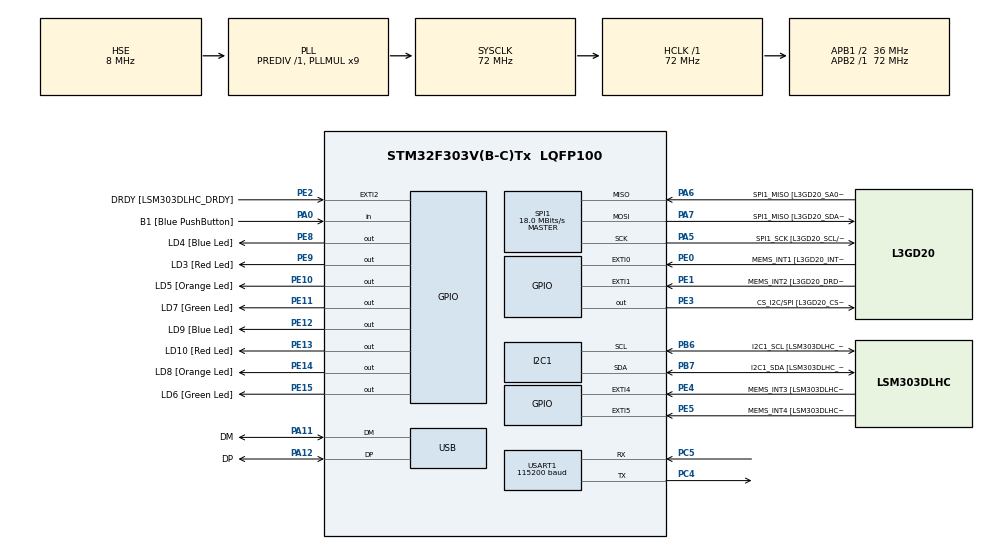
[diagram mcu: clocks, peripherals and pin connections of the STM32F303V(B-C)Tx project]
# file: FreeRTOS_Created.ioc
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I2C1.Timing-I2C=0x2000090E
Mcu.Family=STM32F3
Mcu.Name=STM32F303V(B-C)Tx
Mcu.Package=LQFP100
NVIC.PriorityGroup=NVIC_PRIORITYGROUP_4
NVIC.TIM3_IRQn=true\:0\:0\:false\:false\:true\:false\:true
NVIC.TimeBase=TIM3_IRQn
NVIC.TimeBaseIP=TIM3
PA0.GPIO_Label=B1 [Blue PushButton]
PA0.Signal=GPIO_Input
PA11.GPIO_Label=DM
PA11.Mode=Device
PA11.Signal=USB_DM
PA12.GPIO_Label=DP
PA12.Mode=Device
PA12.Signal=USB_DP
PA13.GPIO_Label=SWDIO
PA13.Mode=Serial_Wire
PA13.Signal=SYS_JTMS-SWDIO
PA14.GPIO_Label=SWCLK
PA14.Mode=Serial_Wire
PA14.Signal=SYS_JTCK-SWCLK
PA5.GPIO_Label=SPI1_SCK [L3GD20_SCL/SPC]
PA5.Mode=Full_Duplex_Master
PA5.Signal=SPI1_SCK
PA6.GPIO_Label=SPI1_MISO [L3GD20_SA0/SDO]
PA6.Mode=Full_Duplex_Master
PA6.Signal=SPI1_MISO
PA7.GPIO_Label=SPI1_MISO [L3GD20_SDA/SDI/SDO]
PA7.Mode=Full_Duplex_Master
PA7.Signal=SPI1_MOSI
PB3.GPIO_Label=SWO
PB3.Signal=SYS_JTDO-TRACESWO
PB6.GPIO_Label=I2C1_SCL [LSM303DLHC_SCL]
PB6.GPIO_Pu=GPIO_PULLUP
PB6.Mode=I2C
PB6.Signal=I2C1_SCL
PB7.GPIO_Label=I2C1_SDA [LSM303DLHC_SDA]
PB7.GPIO_Pu=GPIO_PULLUP
PB7.Mode=I2C
PB7.Signal=I2C1_SDA
PC14-OSC32_IN.GPIO_Label=OSC32_IN
PC14-OSC32_IN.Signal=RCC_OSC32_IN
PC15-OSC32_OUT.GPIO_Label=OSC32_OUT
PC15-OSC32_OUT.Signal=RCC_OSC32_OUT
PC4.Mode=Asynchronous
PC4.Signal=USART1_TX
PC5.Mode=Asynchronous
PC5.Signal=USART1_RX
PE0.GPIO_Label=MEMS_INT1 [L3GD20_INT1]
PE0.GPIO_ModeDefaultEXTI=GPIO_MODE_EVT_RISING
PE0.Signal=GPXTI0
PE1.GPIO_Label=MEMS_INT2 [L3GD20_DRDY/INT2]
PE1.GPIO_ModeDefaultEXTI=GPIO_MODE_EVT_RISING
PE1.Signal=GPXTI1
PE10.GPIO_Label=LD5 [Orange Led]
PE10.Signal=GPIO_Output
PE11.GPIO_Label=LD7 [Green Led]
PE11.Signal=GPIO_Output
PE12.GPIO_Label=LD9 [Blue Led]
PE12.Signal=GPIO_Output
PE13.GPIO_Label=LD10 [Red Led]
PE13.Signal=GPIO_Output
PE14.GPIO_Label=LD8 [Orange Led]
PE14.Signal=GPIO_Output
PE15.GPIO_Label=LD6 [Green Led]
PE15.Signal=GPIO_Output
PE2.GPIO_Label=DRDY [LSM303DLHC_DRDY]
PE2.GPIO_ModeDefaultEXTI=GPIO_MODE_EVT_RISING
PE2.Signal=GPXTI2
PE3.GPIO_Label=CS_I2C/SPI [L3GD20_CS_I2C/SPI]
PE3.Signal=GPIO_Output
PE4.GPIO_Label=MEMS_INT3 [LSM303DLHC_INT1]
PE4.GPIO_ModeDefaultEXTI=GPIO_MODE_EVT_RISING
PE4.Signal=GPXTI4
PE5.GPIO_Label=MEMS_INT4 [LSM303DLHC_INT2]
PE5.GPIO_ModeDefaultEXTI=GPIO_MODE_EVT_RISING
PE5.Signal=GPXTI5
PE8.GPIO_Label=LD4 [Blue Led]
PE8.Signal=GPIO_Output
PE9.GPIO_Label=LD3 [Red Led]
PE9.Signal=GPIO_Output
PF0-OSC_IN.GPIO_Label=OSC_IN
PF0-OSC_IN.Mode=HSE-External-Clock-Source
PF0-OSC_IN.Signal=RCC_OSC_IN
PF1-OSC_OUT.GPIO_Label=OSC_OUT
PF1-OSC_OUT.Signal=RCC_OSC_OUT
ProjectManager.HeapSize=0x800
ProjectManager.StackSize=0x800
ProjectManager.TargetToolchain=MDK-ARM V5.27
RCC.AHBFreq_Value=72000000
RCC.APB1CLKDivider=RCC_HCLK_DIV2
RCC.APB1Freq_Value=36000000
RCC.APB1TimFreq_Value=72000000
RCC.APB2Freq_Value=72000000
RCC.APB2TimFreq_Value=72000000
RCC.CortexFreq_Value=72000000
RCC.HCLKFreq_Value=72000000
RCC.HSE_VALUE=8000000
RCC.HSI_VALUE=8000000
RCC.LSE_VALUE=32768
RCC.PLLMUL=RCC_PLL_MUL9
RCC.PRESCALERUSB=RCC_USBCLKSOURCE_PLL_DIV1_5
RCC.SYSCLKFreq_VALUE=72000000
RCC.SYSCLKSourceVirtual=RCC_SYSCLKSOURCE_PLLCLK
RCC.USBFreq_Value=48000000
SPI1.BaudRatePrescaler=SPI_BAUDRATEPRESCALER_4
SPI1.BaudRatePrescaler-Full_Duplex_Master=SPI_BAUDRATEPRESCALER_2
SPI1.CalculateBaudRate=18.0 MBits/s
SPI1.CalculateBaudRate-Full_Duplex_Master=24.0 MBits/s
SPI1.Direction=SPI_DIRECTION_2LINES
SPI1.Mode=SPI_MODE_MASTER
SPI1.Mode-Full_Duplex_Master=SPI_MODE_MASTER
SPI1.VirtualType=VM_MASTER
USART1.BaudRate=115200
USART1.VirtualMode-Asynchronous=VM_ASYNC
VP_SYS_VS_tim3.Mode=TIM3
board=STM32F3DISCOVERY

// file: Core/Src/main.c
/* USER CODE BEGIN Header */
/**
  ******************************************************************************
  * @file           : main.c
  * @brief          : Main program body
  ******************************************************************************
  * @attention
  *
  * <h2><center>&copy; Copyright (c) 2021 STMicroelectronics.
  * All rights reserved.</center></h2>
  *
  * This software component is licensed by ST under Ultimate Liberty license
  * SLA0044, the "License"; You may not use this file except in compliance with
  * the License. You may obtain a copy of the License at:
  *                             www.st.com/SLA0044
  *
  ******************************************************************************
  */
/* USER CODE END Header */
#include "main.h"

/* USER CODE BEGIN Includes */

//====================================================================================================

#include "FreeRTOS.h"
#include "task.h"
#include "queue.h"
#include "stdio.h"
#include "string.h"
#include "semphr.h"

	TaskHandle_t xHandle_ONE = NULL;
	TaskHandle_t xHandle_TWO = NULL;
	TaskHandle_t xHandle_UART = NULL;

	QueueHandle_t xQueue = NULL;

	SemaphoreHandle_t xSemaphore_UART = NULL;

	uint32_t QueueVar = 0;

//====================================================================================================

/* USER CODE END Includes */

I2C_HandleTypeDef hi2c1;

SPI_HandleTypeDef hspi1;

UART_HandleTypeDef huart1;

PCD_HandleTypeDef hpcd_USB_FS;

void SystemClock_Config(void);
static void MX_GPIO_Init(void);
static void MX_I2C1_Init(void);
static void MX_SPI1_Init(void);
static void MX_USB_PCD_Init(void);
static void MX_USART1_UART_Init(void);
/* USER CODE BEGIN PFP */

//====================================================================================================

// Button read
void vTaskCode_ONE( void * pvParameters );

// Blink LED
void vTaskCode_TWO( void * pvParameters );

// Print UART
void vTaskCode_UART( void * pvParameters );

//====================================================================================================

/* USER CODE END PFP */

int main(void)
{

  /* MCU Configuration--------------------------------------------------------*/

  /* Reset of all peripherals, Initializes the Flash interface and the Systick. */
  HAL_Init();

  /* Configure the system clock */
  SystemClock_Config();

  /* Initialize all configured peripherals */
  MX_GPIO_Init();
  MX_I2C1_Init();
  MX_SPI1_Init();
  MX_USB_PCD_Init();
  MX_USART1_UART_Init();

  /* Infinite loop */
  /* USER CODE BEGIN WHILE */

  //=========================================================================================================

   //--------------------------------------------------------------
   /* Create a queue capable of containing 1 unsigned long values. */
    xQueue = xQueueCreate( 1, sizeof( uint32_t ) );

    if( xQueue == NULL )
    {
        /* Queue was not created and must not be used. */
    }
	//----------------------------------------------------------------

	//----------------------------------------------------------------
	/* Attempt to create a semaphore. */
    xSemaphore_UART = xSemaphoreCreateMutex();

    if( xSemaphore_UART == NULL )
    {
        /* There was insufficient FreeRTOS heap available for the semaphore to
        be created successfully. */
    }
	//-----------------------------------------------------------------

    /*========== Create the task, storing the handle. =================*/
    xTaskCreate(
                    vTaskCode_ONE,       /* Function that implements the task. */
                    "Task_BUTTON",          /* Text name for the task. */
                    50*4,      /* Stack size in words, not bytes. */
                    NULL,    /* Parameter passed into the task. */
                    tskIDLE_PRIORITY,/* Priority at which the task is created. */
					&xHandle_ONE);   /* Used to pass out the created task's handle. */

    /*========= Create the task, storing the handle. =================*/
    xTaskCreate(
                    vTaskCode_TWO,       /* Function that implements the task. */
                    "Task_LED",          /* Text name for the task. */
                    50*4,      /* Stack size in words, not bytes. */
                    NULL,    /* Parameter passed into the task. */
                    tskIDLE_PRIORITY,/* Priority at which the task is created. */
                    &xHandle_TWO);      /* Used to pass out the created task's handle. */

	/*========= Create the task, storing the handle. =================*/
    xTaskCreate(
                    vTaskCode_UART,       /* Function that implements the task. */
                    "Task_UART",          /* Text name for the task. */
                    50*4,      /* Stack size in words, not bytes. */
                    NULL,    /* Parameter passed into the task. */
                    tskIDLE_PRIORITY,/* Priority at which the task is created. */
                    &xHandle_UART);      /* Used to pass out the created task's handle. */

	//==  RUN TASKs ================================================
	vTaskStartScheduler();

  //=========================================================================================================

  while (1)
  {
    /* USER CODE END WHILE */

  }
}

void SystemClock_Config(void)
{
  RCC_OscInitTypeDef RCC_OscInitStruct = {0};
  RCC_ClkInitTypeDef RCC_ClkInitStruct = {0};
  RCC_PeriphCLKInitTypeDef PeriphClkInit = {0};

  /** Initializes the RCC Oscillators according to the specified parameters
  * in the RCC_OscInitTypeDef structure.
  */
  RCC_OscInitStruct.OscillatorType = RCC_OSCILLATORTYPE_HSI|RCC_OSCILLATORTYPE_HSE;
  RCC_OscInitStruct.HSEState = RCC_HSE_BYPASS;
  RCC_OscInitStruct.HSEPredivValue = RCC_HSE_PREDIV_DIV1;
  RCC_OscInitStruct.HSIState = RCC_HSI_ON;
  RCC_OscInitStruct.HSICalibrationValue = RCC_HSICALIBRATION_DEFAULT;
  RCC_OscInitStruct.PLL.PLLState = RCC_PLL_ON;
  RCC_OscInitStruct.PLL.PLLSource = RCC_PLLSOURCE_HSE;
  RCC_OscInitStruct.PLL.PLLMUL = RCC_PLL_MUL9;
  if (HAL_RCC_OscConfig(&RCC_OscInitStruct) != HAL_OK)
  {
    Error_Handler();
  }
  /** Initializes the CPU, AHB and APB buses clocks
  */
  RCC_ClkInitStruct.ClockType = RCC_CLOCKTYPE_HCLK|RCC_CLOCKTYPE_SYSCLK
                              |RCC_CLOCKTYPE_PCLK1|RCC_CLOCKTYPE_PCLK2;
  RCC_ClkInitStruct.SYSCLKSource = RCC_SYSCLKSOURCE_PLLCLK;
  RCC_ClkInitStruct.AHBCLKDivider = RCC_SYSCLK_DIV1;
  RCC_ClkInitStruct.APB1CLKDivider = RCC_HCLK_DIV2;
  RCC_ClkInitStruct.APB2CLKDivider = RCC_HCLK_DIV1;

  if (HAL_RCC_ClockConfig(&RCC_ClkInitStruct, FLASH_LATENCY_2) != HAL_OK)
  {
    Error_Handler();
  }
  PeriphClkInit.PeriphClockSelection = RCC_PERIPHCLK_USB|RCC_PERIPHCLK_USART1
                              |RCC_PERIPHCLK_I2C1;
  PeriphClkInit.Usart1ClockSelection = RCC_USART1CLKSOURCE_PCLK2;
  PeriphClkInit.I2c1ClockSelection = RCC_I2C1CLKSOURCE_HSI;
  PeriphClkInit.USBClockSelection = RCC_USBCLKSOURCE_PLL_DIV1_5;
  if (HAL_RCCEx_PeriphCLKConfig(&PeriphClkInit) != HAL_OK)
  {
    Error_Handler();
  }
}

static void MX_I2C1_Init(void)
{

  hi2c1.Instance = I2C1;
  hi2c1.Init.Timing = 0x2000090E;
  hi2c1.Init.OwnAddress1 = 0;
  hi2c1.Init.AddressingMode = I2C_ADDRESSINGMODE_7BIT;
  hi2c1.Init.DualAddressMode = I2C_DUALADDRESS_DISABLE;
  hi2c1.Init.OwnAddress2 = 0;
  hi2c1.Init.OwnAddress2Masks = I2C_OA2_NOMASK;
  hi2c1.Init.GeneralCallMode = I2C_GENERALCALL_DISABLE;
  hi2c1.Init.NoStretchMode = I2C_NOSTRETCH_DISABLE;
  if (HAL_I2C_Init(&hi2c1) != HAL_OK)
  {
    Error_Handler();
  }
  /** Configure Analogue filter
  */
  if (HAL_I2CEx_ConfigAnalogFilter(&hi2c1, I2C_ANALOGFILTER_ENABLE) != HAL_OK)
  {
    Error_Handler();
  }
  /** Configure Digital filter
  */
  if (HAL_I2CEx_ConfigDigitalFilter(&hi2c1, 0) != HAL_OK)
  {
    Error_Handler();
  }

}

static void MX_SPI1_Init(void)
{

  /* SPI1 parameter configuration*/
  hspi1.Instance = SPI1;
  hspi1.Init.Mode = SPI_MODE_MASTER;
  hspi1.Init.Direction = SPI_DIRECTION_2LINES;
  hspi1.Init.DataSize = SPI_DATASIZE_4BIT;
  hspi1.Init.CLKPolarity = SPI_POLARITY_LOW;
  hspi1.Init.CLKPhase = SPI_PHASE_1EDGE;
  hspi1.Init.NSS = SPI_NSS_SOFT;
  hspi1.Init.BaudRatePrescaler = SPI_BAUDRATEPRESCALER_4;
  hspi1.Init.FirstBit = SPI_FIRSTBIT_MSB;
  hspi1.Init.TIMode = SPI_TIMODE_DISABLE;
  hspi1.Init.CRCCalculation = SPI_CRCCALCULATION_DISABLE;
  hspi1.Init.CRCPolynomial = 7;
  hspi1.Init.CRCLength = SPI_CRC_LENGTH_DATASIZE;
  hspi1.Init.NSSPMode = SPI_NSS_PULSE_ENABLE;
  if (HAL_SPI_Init(&hspi1) != HAL_OK)
  {
    Error_Handler();
  }

}

static void MX_USART1_UART_Init(void)
{

  huart1.Instance = USART1;
  huart1.Init.BaudRate = 115200;
  huart1.Init.WordLength = UART_WORDLENGTH_8B;
  huart1.Init.StopBits = UART_STOPBITS_1;
  huart1.Init.Parity = UART_PARITY_NONE;
  huart1.Init.Mode = UART_MODE_TX_RX;
  huart1.Init.HwFlowCtl = UART_HWCONTROL_NONE;
  huart1.Init.OverSampling = UART_OVERSAMPLING_16;
  huart1.Init.OneBitSampling = UART_ONE_BIT_SAMPLE_DISABLE;
  huart1.AdvancedInit.AdvFeatureInit = UART_ADVFEATURE_NO_INIT;
  if (HAL_UART_Init(&huart1) != HAL_OK)
  {
    Error_Handler();
  }

}

static void MX_USB_PCD_Init(void)
{

  hpcd_USB_FS.Instance = USB;
  hpcd_USB_FS.Init.dev_endpoints = 8;
  hpcd_USB_FS.Init.speed = PCD_SPEED_FULL;
  hpcd_USB_FS.Init.phy_itface = PCD_PHY_EMBEDDED;
  hpcd_USB_FS.Init.low_power_enable = DISABLE;
  hpcd_USB_FS.Init.battery_charging_enable = DISABLE;
  if (HAL_PCD_Init(&hpcd_USB_FS) != HAL_OK)
  {
    Error_Handler();
  }

}

static void MX_GPIO_Init(void)
{
  GPIO_InitTypeDef GPIO_InitStruct = {0};

  /* GPIO Ports Clock Enable */
  __HAL_RCC_GPIOE_CLK_ENABLE();
  __HAL_RCC_GPIOC_CLK_ENABLE();
  __HAL_RCC_GPIOF_CLK_ENABLE();
  __HAL_RCC_GPIOA_CLK_ENABLE();
  __HAL_RCC_GPIOB_CLK_ENABLE();

  /*Configure GPIO pin Output Level */
  HAL_GPIO_WritePin(GPIOE, CS_I2C_SPI_Pin|LD4_Pin|LD3_Pin|LD5_Pin
                          |LD7_Pin|LD9_Pin|LD10_Pin|LD8_Pin
                          |LD6_Pin, GPIO_PIN_RESET);

  /*Configure GPIO pins : DRDY_Pin MEMS_INT3_Pin MEMS_INT4_Pin MEMS_INT1_Pin
                           MEMS_INT2_Pin */
  GPIO_InitStruct.Pin = DRDY_Pin|MEMS_INT3_Pin|MEMS_INT4_Pin|MEMS_INT1_Pin
                          |MEMS_INT2_Pin;
  GPIO_InitStruct.Mode = GPIO_MODE_EVT_RISING;
  GPIO_InitStruct.Pull = GPIO_NOPULL;
  HAL_GPIO_Init(GPIOE, &GPIO_InitStruct);

  /*Configure GPIO pins : CS_I2C_SPI_Pin LD4_Pin LD3_Pin LD5_Pin
                           LD7_Pin LD9_Pin LD10_Pin LD8_Pin
                           LD6_Pin */
  GPIO_InitStruct.Pin = CS_I2C_SPI_Pin|LD4_Pin|LD3_Pin|LD5_Pin
                          |LD7_Pin|LD9_Pin|LD10_Pin|LD8_Pin
                          |LD6_Pin;
  GPIO_InitStruct.Mode = GPIO_MODE_OUTPUT_PP;
  GPIO_InitStruct.Pull = GPIO_NOPULL;
  GPIO_InitStruct.Speed = GPIO_SPEED_FREQ_LOW;
  HAL_GPIO_Init(GPIOE, &GPIO_InitStruct);

  /*Configure GPIO pin : B1_Pin */
  GPIO_InitStruct.Pin = B1_Pin;
  GPIO_InitStruct.Mode = GPIO_MODE_INPUT;
  GPIO_InitStruct.Pull = GPIO_NOPULL;
  HAL_GPIO_Init(B1_GPIO_Port, &GPIO_InitStruct);

}

/* USER CODE BEGIN 4 */

//====================================================================================================

// Button read
void vTaskCode_ONE( void * pvParameters ){
	for( ;; )
    {
		// read button
		if( HAL_GPIO_ReadPin( B1_GPIO_Port, B1_Pin ) == GPIO_PIN_SET ){

			QueueVar = HAL_GetTick();

			char mess[] = "BUTTON PRESS!!!\n";

			xSemaphoreTake (xSemaphore_UART, portMAX_DELAY);
			HAL_UART_Transmit( &huart1, (uint8_t*)mess, sizeof( mess ), 500 );
			xSemaphoreGive(xSemaphore_UART);

			/* Send an uint32_t.  Wait for 1 ticks for space to become
			available if necessary. */
			if( xQueueSend( xQueue,( void * ) &QueueVar,( TickType_t ) 10 ) != pdPASS )
			{
				/* Failed to post the message, even after 10 ticks. */
			}

			/* Send notification to prvTask2(), bringing it out of the
			Blocked state. */
			xTaskNotifyGiveIndexed( xHandle_TWO, 0 );

			/* Block to wait for prvTask2() to notify this task. */
			ulTaskNotifyTakeIndexed( 0, pdTRUE, portMAX_DELAY );
		}

		vTaskDelay( 10/portTICK_PERIOD_MS );
    }
}

// Blink LED
void vTaskCode_TWO( void * pvParameters ){
	for( ;; )
    {
        /* Block to wait for prvTask1() to notify this task. */
        ulTaskNotifyTake( pdTRUE, portMAX_DELAY );

		char mess[] = "vTaskCode_TWO\n";

		xSemaphoreTake (xSemaphore_UART, portMAX_DELAY);
		HAL_UART_Transmit( &huart1, (uint8_t*)mess, sizeof( mess ), 500 );
		xSemaphoreGive(xSemaphore_UART);

        /* Send a notification to prvTask1(), bringing it out of the
        Blocked state. */
        xTaskNotifyGive( xHandle_ONE );

		HAL_GPIO_WritePin (LD4_GPIO_Port , LD4_Pin, GPIO_PIN_SET );

		vTaskDelay( 1000/portTICK_PERIOD_MS );

		HAL_GPIO_WritePin (LD4_GPIO_Port , LD4_Pin, GPIO_PIN_RESET );
    }
}

void vTaskCode_UART( void * pvParameters ){
	for( ;; )
    {

	  uint32_t read_xQueue = 0;

		/* Receive a message from the created queue to hold complex struct AMessage
      structure.  Block for 10 ticks if a message is not immediately available.
      The value is read into a struct AMessage variable, so after calling
      xQueueReceive() xRxedStructure will hold a copy of xMessage. */
      if( xQueueReceive( xQueue, &read_xQueue, (TickType_t) 100 ) == pdPASS )
      {
         /* xRxedStructure now contains a copy of xMessage. */
      }

	  char mess[20];
	  sprintf( mess, "xQueue = %d\n", read_xQueue*2);

	  if( read_xQueue != 0 ){

		  xSemaphoreTake (xSemaphore_UART, portMAX_DELAY);
		  HAL_UART_Transmit( &huart1, (uint8_t*)mess, strlen( mess ), 500 );
		  xSemaphoreGive(xSemaphore_UART);
	  }

	  sprintf( mess, "vTaskCode_UART = %d\n", HAL_GetTick());

	  xSemaphoreTake (xSemaphore_UART, portMAX_DELAY);
	  HAL_UART_Transmit( &huart1, (uint8_t*)mess, strlen( mess ), 500 );
	  xSemaphoreGive(xSemaphore_UART);

	  vTaskDelay( 100/portTICK_PERIOD_MS );
    }
}

//==================================================================================================

/* USER CODE END 4 */

void HAL_TIM_PeriodElapsedCallback(TIM_HandleTypeDef *htim)
{
  if (htim->Instance == TIM3) {
    HAL_IncTick();
  }
}

void Error_Handler(void)
{
  __disable_irq();
  while (1)
  {
  }
}

/************************ (C) COPYRIGHT STMicroelectronics *****END OF FILE****/
